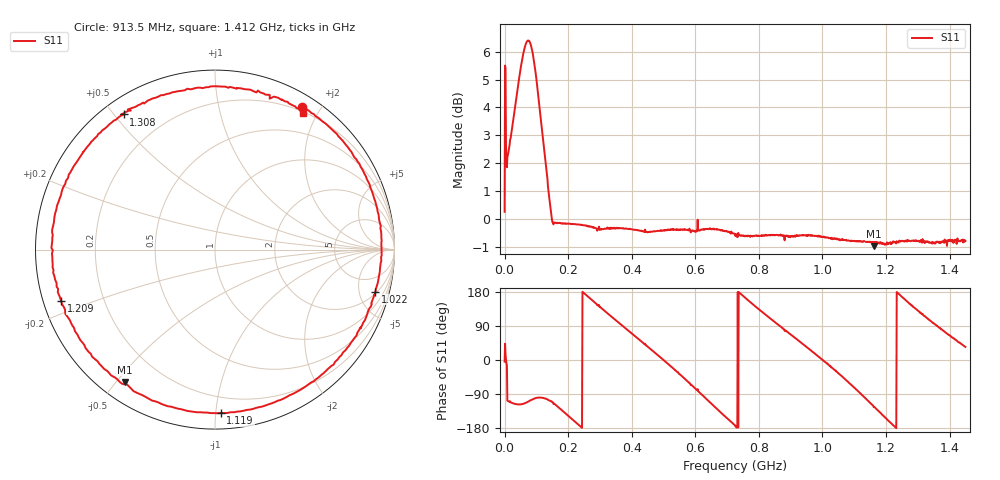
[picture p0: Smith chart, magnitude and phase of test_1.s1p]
! Created with skrf 1.11.0 (http://scikit-rf.org).
# Hz S RI R 50.0
!freq ReS11 ImS11
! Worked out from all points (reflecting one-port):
!   1001 points, 50 kHz to 1.45 GHz, reference 50 ohm
!   lowest |S11| = -1.0 dB at 1.161 GHz (marker M1), VSWR 17.72, Z = 3.6 - j26.3 ohm
!   phase of S11 starts at -4 deg and turns -1041 deg over the sweep
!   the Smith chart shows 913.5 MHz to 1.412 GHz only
!   S11 on the Smith chart (normalised r, x): 913.5 MHz: 0.15, +1.78; 1.022 GHz: 2.22, -7.10; 1.119 GHz: 0.10, -1.03; 1.209 GHz: 0.05, -0.16; 1.308 GHz: 0.06, +0.53; 1.412 GHz: 0.21, +1.81
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50000  1.027 -0.0767
1.599945e7  -0.4773 -1.275
5.079825e7  -0.8492 -1.664
7.54474e7  -0.687 -1.971
1.17496e8  -0.2403 -1.428
1.812938e8  -0.6748 -0.7119
2.639409e8  -0.9426 0.2323
3.625375e8  -0.1002 0.9576
4.103858e8  0.4345 0.8515
4.64034e8  0.856 0.4087
5.437812e8  0.8098 -0.5061
6.307782e8  -0.1587 -0.9436
6.815265e8  -0.7248 -0.6211
7.25025e8  -0.9306 -0.1243
8.221716e8  -0.4528 0.8197
9.062688e8  0.4131 0.8325
9.135185e8  0.4864 0.7935
9.715165e8  0.8753 0.3221
1.022265e9  0.8939 -0.2335
1.087512e9  0.4144 -0.8121
1.119411e9  0.0322 -0.9101
1.16146e9  -0.504 -0.7374
1.209308e9  -0.8566 -0.2878
1.268756e9  -0.8149 0.4176
1.307905e9  -0.5096 0.7531
1.358653e9  -0.0248 0.9094
1.412301e9  0.4881 0.7626
1.45e9  0.7529 0.5165
